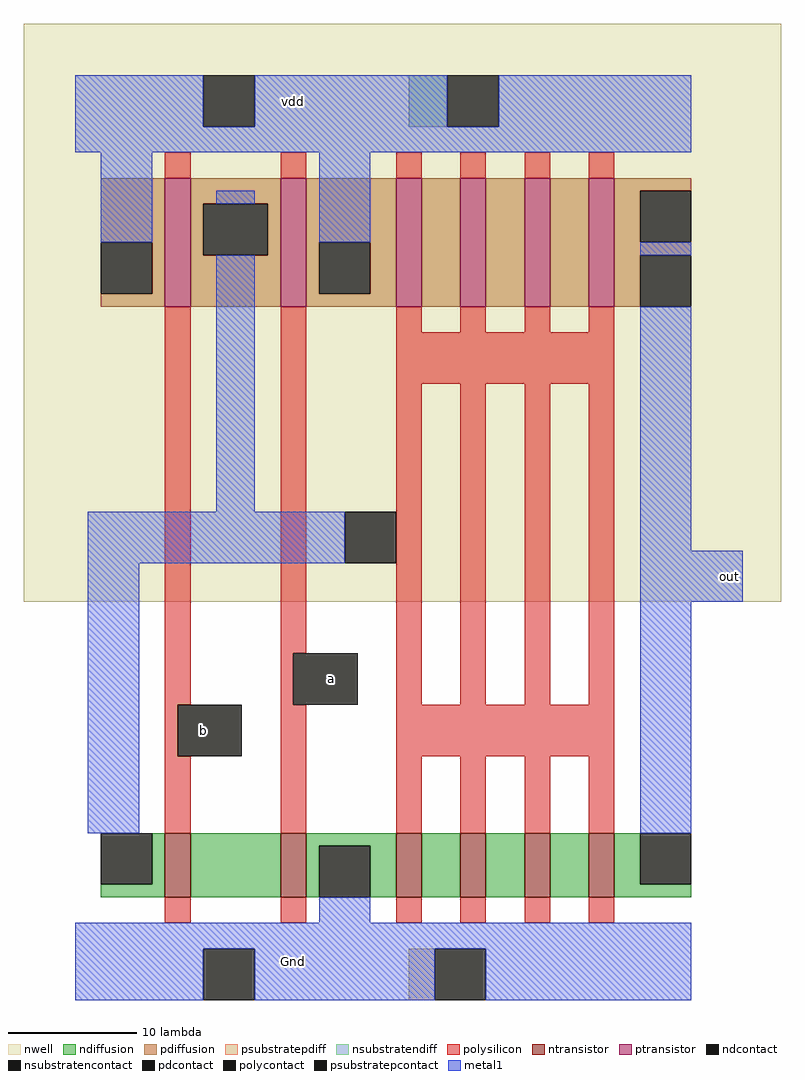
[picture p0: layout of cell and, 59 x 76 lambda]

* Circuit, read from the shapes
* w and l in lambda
.subckt and Gnd a b out vdd
M1 n1 b n2 Gnd nfet w=5 l=2
M2 Gnd a n1 Gnd nfet w=5 l=2
M3 n3 n2 Gnd Gnd nfet w=5 l=2
M4 n4 n2 n3 Gnd nfet w=5 l=2
M5 n5 n2 n4 Gnd nfet w=5 l=2
M6 out n2 n5 Gnd nfet w=5 l=2
M7 n2 b vdd vdd pfet w=10 l=2
M8 vdd a n2 vdd pfet w=10 l=2
M9 n6 n2 vdd vdd pfet w=10 l=2
M10 n7 n2 n6 vdd pfet w=10 l=2
M11 n8 n2 n7 vdd pfet w=10 l=2
M12 out n2 n8 vdd pfet w=10 l=2
.ends

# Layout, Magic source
magic
tech min2
<< nwell >>
rect -23 24 36 69
<< ntransistor >>
rect -12 1 -10 6
rect -3 1 -1 6
rect 6 1 8 6
rect 11 1 13 6
rect 16 1 18 6
rect 21 1 23 6
<< ptransistor >>
rect -12 47 -10 57
rect -3 47 -1 57
rect 6 47 8 57
rect 11 47 13 57
rect 16 47 18 57
rect 21 47 23 57
<< ndiffusion >>
rect -13 2 -12 6
rect -17 1 -12 2
rect -10 1 -3 6
rect -1 5 6 6
rect -1 1 0 5
rect 4 1 6 5
rect 8 1 11 6
rect 13 1 16 6
rect 18 1 21 6
rect 23 2 25 6
rect 23 1 29 2
<< pdiffusion >>
rect -17 52 -12 57
rect -13 48 -12 52
rect -17 47 -12 48
rect -10 55 -3 57
rect -10 51 -9 55
rect -4 51 -3 55
rect -10 47 -3 51
rect -1 52 6 57
rect -1 48 0 52
rect 4 48 6 52
rect -1 47 6 48
rect 8 47 11 57
rect 13 47 16 57
rect 18 47 21 57
rect 23 56 29 57
rect 23 52 25 56
rect 23 51 29 52
rect 23 47 25 51
<< ndcontact >>
rect -17 2 -13 6
rect 0 1 4 5
rect 25 2 29 6
<< pdcontact >>
rect -17 48 -13 52
rect -9 51 -4 55
rect 0 48 4 52
rect 25 52 29 56
rect 25 47 29 51
<< psubstratepdiff >>
rect 7 -7 9 -3
<< nsubstratendiff >>
rect 7 61 10 65
<< psubstratepcontact >>
rect -9 -7 -5 -3
rect 9 -7 13 -3
<< nsubstratencontact >>
rect -9 61 -5 65
rect 10 61 14 65
<< polysilicon >>
rect -12 57 -10 59
rect -3 57 -1 59
rect 6 57 8 59
rect 11 57 13 59
rect 16 57 18 59
rect 21 57 23 59
rect -12 16 -10 47
rect -3 20 -1 47
rect 6 45 8 47
rect 11 45 13 47
rect 16 45 18 47
rect 21 45 23 47
rect 6 41 23 45
rect -3 16 -2 20
rect 6 16 8 41
rect 11 16 13 41
rect 16 16 18 41
rect 21 16 23 41
rect -12 12 -11 16
rect -12 6 -10 12
rect -3 6 -1 16
rect 6 12 23 16
rect 6 6 8 12
rect 11 6 13 12
rect 16 6 18 12
rect 21 6 23 12
rect -12 -1 -10 1
rect -3 -1 -1 1
rect 6 -1 8 1
rect 11 -1 13 1
rect 16 -1 18 1
rect 21 -1 23 1
<< polycontact >>
rect 2 27 6 31
rect -2 16 3 20
rect -11 12 -6 16
<< metal1 >>
rect -19 61 -9 65
rect -5 61 10 65
rect 14 61 29 65
rect -19 59 29 61
rect -17 52 -13 59
rect -8 55 -5 56
rect 0 52 4 59
rect -8 31 -5 51
rect 25 51 29 52
rect -18 27 2 31
rect 25 28 29 47
rect -18 6 -14 27
rect 25 24 33 28
rect 25 6 29 24
rect 0 -1 4 1
rect -19 -3 29 -1
rect -19 -7 -9 -3
rect -5 -7 9 -3
rect 13 -7 29 -3
<< labels >>
rlabel metal1 -2 -4 -2 -4 1 Gnd
rlabel metal1 -2 63 -2 63 5 vdd
rlabel polycontact -9 14 -9 14 1 b
rlabel polycontact 1 18 1 18 1 a
rlabel metal1 32 26 32 26 7 out
<< end >>
